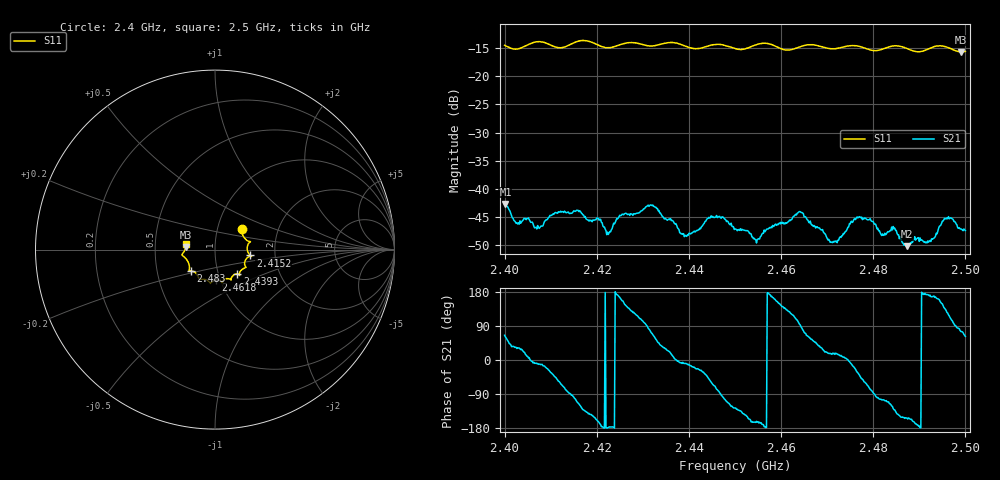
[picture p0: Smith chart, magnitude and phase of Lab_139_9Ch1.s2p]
# Hz S RI R 50
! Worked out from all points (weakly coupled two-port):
!   601 points, 2.4 GHz to 2.5 GHz, reference 50 ohm
!   highest |S21| = -42.67 dB at 2.4002 GHz (marker M1); lowest = -50.2 dB at 2.4873 GHz (marker M2)
!   lowest |S11| = -15.7 dB at 2.499 GHz (marker M3), VSWR 1.39, Z = 35.9 + j1.11 ohm
!   |S11| at or under -10 dB: start of sweep to end of sweep
!   S12 and S22 are empty: the file has one direction only
!   S11 on the Smith chart (normalised r, x): 2.4 GHz: 1.31, +0.31; 2.4152 GHz: 1.48, -0.10; 2.4393 GHz: 1.23, -0.35; 2.4618 GHz: 0.95, -0.33; 2.483 GHz: 0.74, -0.18; 2.5 GHz: 0.72, +0.05
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2.4e9  0.1503 0.1134  0.00303 0.0066  0 0  0 0
2.400167e9  0.1501 0.1111  0.00354 0.00644  0 0  0 0
2.407e9  0.1974 0.0445  0.00435 -0.000726  0 0  0 0
2.415167e9  0.1964 -0.0326  -0.00123 -0.00623  0 0  0 0
2.416667e9  0.2039 -0.0377  -0.00352 -0.00498  0 0  0 0
2.4225e9  0.1669 -0.0645  -0.00394 -9.22e-05  0 0  0 0
2.4255e9  0.169 -0.0937  -0.00546 0.00238  0 0  0 0
2.433333e9  0.1368 -0.1319  0.00446 0.00459  0 0  0 0
2.439333e9  0.125 -0.1354  0.00381 -0.000585  0 0  0 0
2.444833e9  0.0889 -0.1667  0.003 -0.00492  0 0  0 0
2.45e9  0.0696 -0.1618  -0.00262 -0.00354  0 0  0 0
2.454833e9  0.0398 -0.1877  -0.00342 -0.00101  0 0  0 0
2.461833e9  0.00411 -0.171  -0.00322 0.0042  0 0  0 0
2.466667e9  -0.0263 -0.1888  0.00276 0.00389  0 0  0 0
2.471e9  -0.0495 -0.1682  0.00324 0.000872  0 0  0 0
2.476833e9  -0.0896 -0.1615  0.00449 -0.00335  0 0  0 0
2.483e9  -0.1356 -0.118  -0.00141 -0.00384  0 0  0 0
2.483333e9  -0.1384 -0.1179  -0.00145 -0.00389  0 0  0 0
2.487333e9  -0.1424 -0.1038  -0.00278 -0.00138  0 0  0 0
2.495833e9  -0.1806 -0.0233  -0.00349 0.00415  0 0  0 0
2.499e9  -0.1636 0.015  0.00112 0.00427  0 0  0 0
2.5e9  -0.1629 0.033  0.00198 0.00377  0 0  0 0
